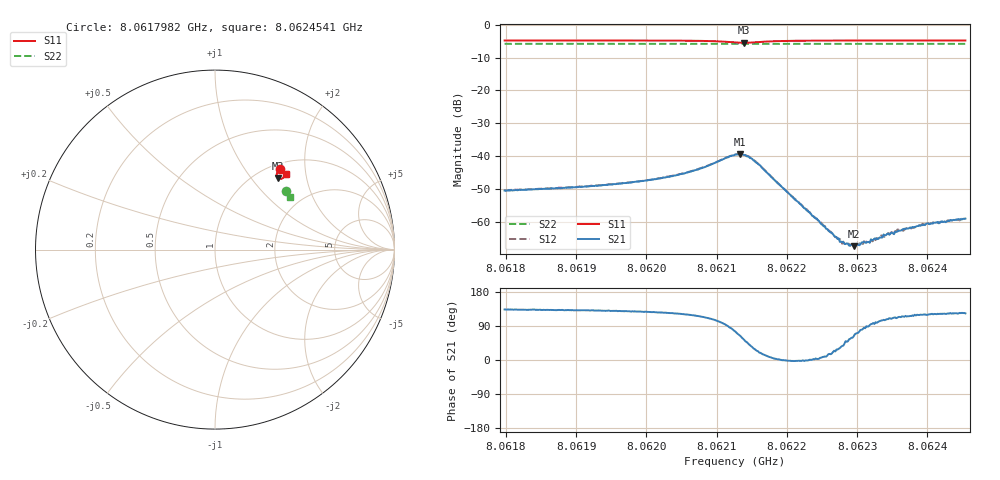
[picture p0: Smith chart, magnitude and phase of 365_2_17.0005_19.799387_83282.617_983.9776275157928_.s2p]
#  HZ  S  RI  R  50.00
! Rohde & Schwarz Vector Network Analyzer
! Rohde-Schwarz,ZNB20-2Port,1311601062101988,3.16
! Created: UTC 3/20/2024, 11:08:24 PM
! freq[Hz]  re:S11  im:S11  re:S21  im:S21  re:S12  im:S12  re:S22  im:S22
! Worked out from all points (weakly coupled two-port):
!   401 points, 8.0617982 GHz to 8.0624541 GHz, reference 50 ohm
!   highest |S21| = -39.35 dB at 8.0621327 GHz (marker M1); lowest = -67.4 dB at 8.0622951 GHz (marker M2)
!   lowest |S11| = -5.5 dB at 8.0621393 GHz (marker M3), VSWR 3.26, Z = 61.7 + j68.5 ohm
!   |S11| at or under -10 dB: nowhere
!   |S22| runs from -5.9 to -5.8 dB; largest |S21 - S12| = 0.00072
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8.06179825e9  0.3642 0.4463  -0.00206 0.00218  -0.00193 0.00231  0.397 0.3238
8.0619081e9  0.3716 0.4398  -0.00226 0.00256  -0.00215 0.00272  0.4011 0.3184
8.06196221e9  0.3756 0.4358  -0.00242 0.00295  -0.00227 0.00309  0.4032 0.3156
8.06201796e9  0.3803 0.43  -0.00266 0.00371  -0.00245 0.0039  0.4053 0.3125
8.06207043e9  0.3848 0.4197  -0.00278 0.00549  -0.00249 0.00569  0.4071 0.3098
8.06212618e9  0.3661 0.3935  0.00258 0.0102  0.0031 0.0102  0.4081 0.3062
8.06213274e9  0.3576 0.3944  0.00455 0.00977  0.00515 0.00937  0.4079 0.306
8.0621393e9  0.3496 0.3991  0.0063 0.00839  0.00672 0.00807  0.4077 0.3059
8.06214914e9  0.3431 0.4108  0.00748 0.00553  0.0079 0.00506  0.4079 0.3062
8.06216061e9  0.3449 0.4236  0.00694 0.00247  0.00706 0.00219  0.4086 0.306
8.06223604e9  0.3726 0.4346  0.00124 2.12e-05  0.00128 -3.02e-05  0.4125 0.3027
8.06227539e9  0.3786 0.4321  0.000422 0.00026  0.000494 0.000235  0.4141 0.3006
8.06228195e9  0.3795 0.4316  0.000344 0.000321  0.000355 0.000292  0.4143 0.3003
8.06229179e9  0.3804 0.431  0.000233 0.000382  0.000271 0.000373  0.4146 0.2996
8.06229507e9  0.3808 0.4307  0.000198 0.000378  0.00023 0.000383  0.4148 0.2994
8.06230491e9  0.3818 0.4301  8.47e-05 0.000453  0.000126 0.000423  0.4152 0.299
8.06230982e9  0.3824 0.4298  4.09e-05 0.000492  0.000101 0.000499  0.4153 0.2987
8.06231474e9  0.3827 0.4295  1.56e-05 0.000494  4.87e-05 0.000475  0.4155 0.2985
8.06231966e9  0.3832 0.4292  -4.36e-05 0.00054  -1.28e-05 0.00052  0.4155 0.2982
8.0623459e9  0.3855 0.4276  -0.000222 0.000596  -0.000157 0.000638  0.4165 0.2968
8.06239181e9  0.3891 0.4248  -0.00044 0.000782  -0.000384 0.000827  0.4182 0.2944
8.06245412e9  0.3932 0.4213  -0.000612 0.000939  -0.000596 0.000958  0.4203 0.2912
